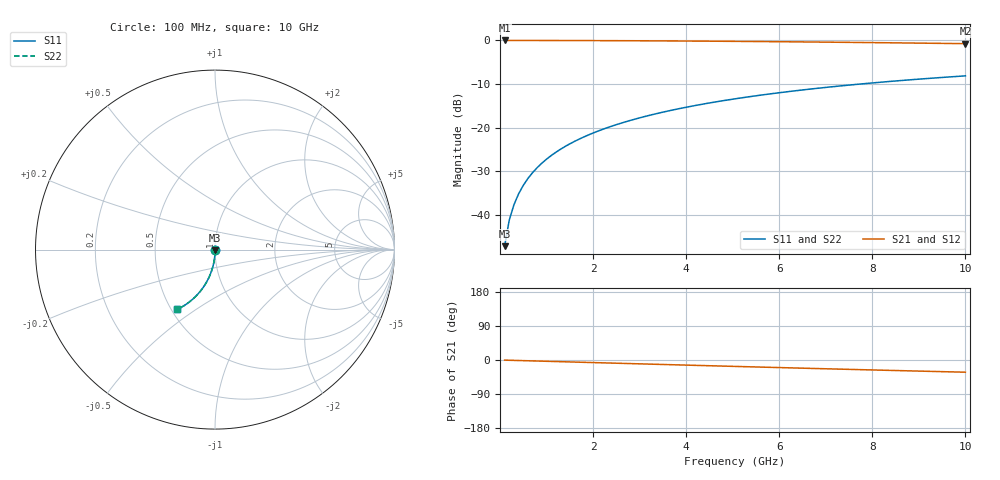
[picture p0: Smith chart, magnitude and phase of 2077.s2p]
# Hz S RI R 50.00
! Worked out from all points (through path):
!   100 points, 100 MHz to 10 GHz, reference 50 ohm
!   highest |S21| = -0.01 dB at 100 MHz (marker M1); lowest = -0.7 dB at 10 GHz (marker M2)
!   group delay of S21, straight-line fit = 8.98 ps
!   lowest |S11| = -47.1 dB at 100 MHz (marker M3), VSWR 1.01, Z = 50.1 - j0.438 ohm
!   |S11| at or under -10 dB: start of sweep to 7.728 GHz
!   |S22| runs from -47.1 to -8.1 dB; largest |S21 - S12| = 0
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1e8  0.000533 -0.00437  0.9994 -0.00593  0.9994 -0.00593  0.000533 -0.00437
2e8  0.000454 -0.00874  0.9993 -0.0119  0.9993 -0.0119  0.000454 -0.00874
3e8  0.000322 -0.0131  0.9992 -0.0178  0.9992 -0.0178  0.000322 -0.0131
4e8  0.000138 -0.0175  0.999 -0.0237  0.999 -0.0237  0.000138 -0.0175
5e8  -9.8e-05 -0.0218  0.9987 -0.0296  0.9987 -0.0296  -9.8e-05 -0.0218
6e8  -0.000386 -0.0262  0.9984 -0.0355  0.9984 -0.0355  -0.000386 -0.0262
7e8  -0.000725 -0.0306  0.9981 -0.0414  0.9981 -0.0414  -0.000725 -0.0306
8e8  -0.00112 -0.0349  0.9976 -0.0473  0.9976 -0.0473  -0.00112 -0.0349
9e8  -0.00156 -0.0393  0.9972 -0.0532  0.9972 -0.0532  -0.00156 -0.0393
1.1e9  -0.0026 -0.0479  0.9961 -0.065  0.9961 -0.065  -0.0026 -0.0479
1.4e9  -0.00454 -0.0609  0.994 -0.0826  0.994 -0.0826  -0.00454 -0.0609
1.8e9  -0.00783 -0.078  0.9906 -0.1059  0.9906 -0.1059  -0.00783 -0.078
2.1e9  -0.0108 -0.0907  0.9874 -0.1233  0.9874 -0.1233  -0.0108 -0.0907
2.5e9  -0.0155 -0.1074  0.9825 -0.1462  0.9825 -0.1462  -0.0155 -0.1074
2.9e9  -0.0209 -0.1238  0.9768 -0.1689  0.9768 -0.1689  -0.0209 -0.1238
3.4e9  -0.0287 -0.1438  0.9686 -0.1967  0.9686 -0.1967  -0.0287 -0.1438
4.2e9  -0.0435 -0.1746  0.9531 -0.24  0.9531 -0.24  -0.0435 -0.1746
5.1e9  -0.0632 -0.207  0.9324 -0.2865  0.9324 -0.2865  -0.0632 -0.207
5.9e9  -0.0831 -0.2336  0.9114 -0.3257  0.9114 -0.3257  -0.0831 -0.2336
6.7e9  -0.105 -0.258  0.8883 -0.3626  0.8883 -0.3626  -0.105 -0.258
8.4e9  -0.1565 -0.3017  0.8335 -0.4333  0.8335 -0.4333  -0.1565 -0.3017
1e10  -0.2092 -0.3325  0.777 -0.4896  0.777 -0.4896  -0.2092 -0.3325
